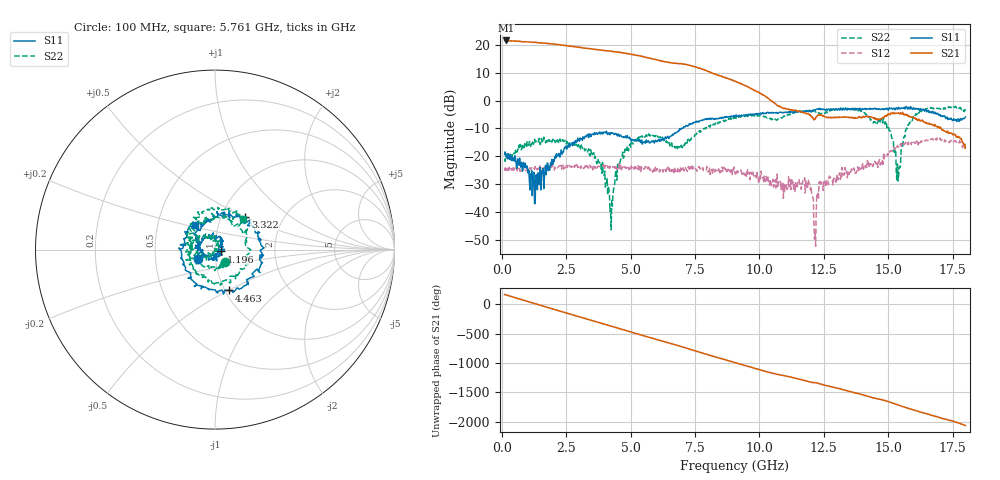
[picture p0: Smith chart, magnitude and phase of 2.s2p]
!Keysight Technologies N9917A: A.08.15
!Date: Friday, 29 September 2017 09:14:36
!Timezone: (GMT-08:00) Pacific Time (US & Canada)
!Model: N9917A
!Serial: MY53102735
!GPS Latitude:
!GPS Longitude:
!GPS TimeStamp: 0001-01-01 00:00:00Z
!GPS Seconds Since Last Read: 0
!CHECKSUM:1633571390
!Correction: S11(ON U)S21(ON U)S12(ON U)S22(ON U)
!S2P File: Measurements:S11,S21,S12,S22:
# Hz S DB R 50
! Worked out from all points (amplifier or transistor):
!   801 points, 100 MHz to 18 GHz, reference 50 ohm
!   highest |S21| = 21.5 dB at 144.8 MHz (marker M1)
!   |S21| within 3 dB of that: start of sweep to 3.428 GHz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
!   unconditionally stable (mu >= 1): start of sweep to end of sweep
!   at 3.076 GHz: K = 1.07, MAG = 19.5 dB, |S12| = -23.4 dB
!   at 9.05 GHz: K = 2.66, MAG = 9.3 dB, |S12| = -26.1 dB
!   at 18 GHz: K = 11.53, MAG = -13.5 dB, |S12| = -17.4 dB
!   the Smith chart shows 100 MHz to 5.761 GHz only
!   S11 on the Smith chart (normalised r, x): 100 MHz: 0.82, -0.09; 1.196 GHz: 1.07, -0.02; 3.322 GHz: 1.30, +0.50; 4.463 GHz: 1.05, -0.51; 5.761 GHz: 0.77, +0.22
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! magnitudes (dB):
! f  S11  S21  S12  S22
! 100 MHz  -19.3  21.5  -25.0  -20.9
! 144.8 MHz  -19.3  21.5  -25.6  -19.3
! 1.196 GHz  -28.8  20.8  -24.2  -15.5
! 3.098 GHz  -13.7  18.9  -23.9  -16.6
! 3.322 GHz  -12.1  18.6  -23.5  -18.4
! 3.814 GHz  -12.0  18.0  -23.7  -23.0
! 4.195 GHz  -12.3  17.6  -24.2  -39.7
! 4.463 GHz  -12.4  17.3  -24.3  -28.5
! 5.045 GHz  -13.9  16.5  -24.2  -15.1
! 5.761 GHz  -15.0  15.1  -25.1  -12.7
! 6.074 GHz  -14.1  14.4  -24.3  -13.1
! 6.902 GHz  -10.1  13.3  -25.5  -16.7
! 9.05 GHz  -5.9  6.8  -26.1  -6.0
! 11.82 GHz  -3.6  -4.5  -30.3  -3.6
! 12.05 GHz  -3.9  -5.9  -34.1  -3.3
! 12.2 GHz  -3.1  -5.9  -40.2  -4.2
! 12.41 GHz  -3.0  -5.3  -29.3  -4.8
! 15.02 GHz  -3.0  -4.8  -19.4  -10.1
! 15.4 GHz  -2.5  -4.5  -16.7  -27.0
! 15.67 GHz  -2.8  -5.0  -15.0  -10.8
! 16.08 GHz  -2.9  -6.8  -15.1  -4.8
! 18 GHz  -5.9  -17.0  -17.4  -3.7
